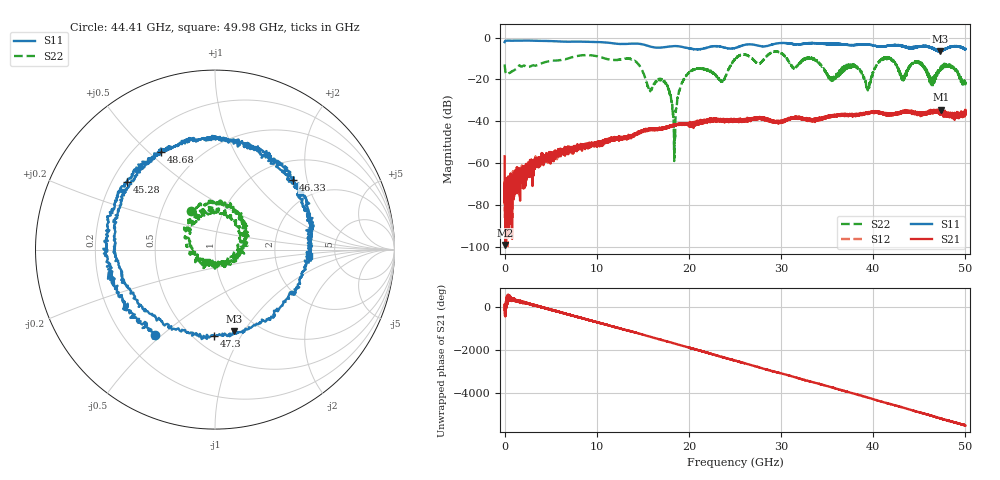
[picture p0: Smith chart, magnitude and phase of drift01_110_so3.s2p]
!Created with skrf (http://scikit-rf.org).
# Hz S RI R 50.0
!freq ReS11 ImS11 ReS21 ImS21 ReS12 ImS12 ReS22 ImS22
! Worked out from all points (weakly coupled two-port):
!   10001 points, 300 kHz to 50 GHz, reference 50 ohm
!   highest |S21| = -34.42 dB at 47.37 GHz (marker M1); lowest = -99.2 dB at 70.3 MHz (marker M2)
!   lowest |S11| = -6.6 dB at 47.21 GHz (marker M3), VSWR 2.76, Z = 38.6 - j45.1 ohm
!   |S11| at or under -10 dB: nowhere
!   |S22| runs from -59.1 to -6.6 dB; largest |S21 - S12| = 0.0043
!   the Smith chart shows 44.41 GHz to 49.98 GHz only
!   S11 on the Smith chart (normalised r, x): 44.41 GHz: 0.33, -0.47; 45.28 GHz: 0.26, +0.32; 46.33 GHz: 1.40, +1.64; 47.3 GHz: 0.62, -0.77; 48.68 GHz: 0.31, +0.55; 49.98 GHz: 3.18, -0.32
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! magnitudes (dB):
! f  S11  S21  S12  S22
! 300 kHz  -2.1  -56.8  -68.9  -12.8
! 70.3 MHz  -1.5  -99.2  -80.5  -15.9
! 8.335 GHz  -1.9  -52.6  -52.0  -8.5
! 16.67 GHz  -4.8  -43.9  -44.1  -20.0
! 17.73 GHz  -4.3  -42.8  -42.6  -23.8
! 18.45 GHz  -4.1  -41.9  -41.5  -48.7
! 19.93 GHz  -5.1  -41.9  -41.6  -17.2
! 23.61 GHz  -4.5  -39.3  -39.7  -20.6
! 25 GHz  -5.0  -39.7  -39.3  -10.3
! 33.34 GHz  -2.6  -39.5  -39.6  -9.8
! 39.45 GHz  -3.3  -36.0  -36.2  -23.7
! 41.67 GHz  -3.9  -36.9  -36.7  -9.9
! 43.18 GHz  -4.1  -35.4  -35.7  -19.7
! 44.41 GHz  -4.7  -36.3  -35.9  -11.8
! 45.28 GHz  -4.2  -36.6  -36.3  -12.7
! 46.33 GHz  -4.7  -35.6  -35.4  -21.3
! 47.21 GHz  -6.6  -35.7  -35.4  -14.9
! 47.3 GHz  -6.4  -35.5  -35.7  -15.6
! 47.37 GHz  -6.2  -34.4  -35.6  -14.0
! 48.68 GHz  -4.1  -37.1  -37.3  -14.2
! 49.98 GHz  -5.6  -36.7  -36.4  -21.6
! 50 GHz  -5.4  -36.9  -36.2  -21.7
